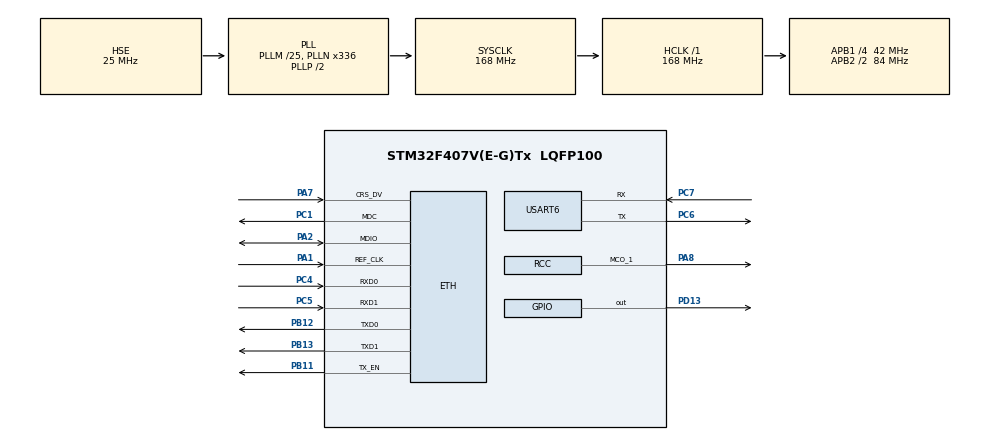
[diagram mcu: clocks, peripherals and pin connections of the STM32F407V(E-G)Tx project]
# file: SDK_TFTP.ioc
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ETH.MediaInterface=ETH_MEDIA_INTERFACE_RMII
LWIP.IP_ADDRESS=192.168.005.240
LWIP.LWIP_DHCP=0
LWIP.LWIP_IPV6=0
LWIP.LWIP_TFTP=1
LWIP.MEMP_NUM_UDP_PCB=6
LWIP.NETMASK_ADDRESS=255.255.255.000
LWIP.Version=v2.0.3_Cube
Mcu.Family=STM32F4
Mcu.Name=STM32F407V(E-G)Tx
Mcu.Package=LQFP100
NVIC.PriorityGroup=NVIC_PRIORITYGROUP_4
PA1.Mode=RMII
PA1.Signal=ETH_REF_CLK
PA13.Mode=JTAG_5_pins
PA13.Signal=SYS_JTMS-SWDIO
PA14.Mode=JTAG_5_pins
PA14.Signal=SYS_JTCK-SWCLK
PA15.Mode=JTAG_5_pins
PA15.Signal=SYS_JTDI
PA2.Mode=RMII
PA2.Signal=ETH_MDIO
PA7.Mode=RMII
PA7.Signal=ETH_CRS_DV
PA8.Mode=Clock-out-1
PA8.Signal=RCC_MCO_1
PB11.Mode=RMII
PB11.Signal=ETH_TX_EN
PB12.Mode=RMII
PB12.Signal=ETH_TXD0
PB13.Mode=RMII
PB13.Signal=ETH_TXD1
PB3.Mode=JTAG_5_pins
PB3.Signal=SYS_JTDO-SWO
PB4.Mode=JTAG_5_pins
PB4.Signal=SYS_JTRST
PC1.Mode=RMII
PC1.Signal=ETH_MDC
PC4.Mode=RMII
PC4.Signal=ETH_RXD0
PC5.Mode=RMII
PC5.Signal=ETH_RXD1
PC6.Mode=Asynchronous
PC6.Signal=USART6_TX
PC7.Mode=Asynchronous
PC7.Signal=USART6_RX
PD13.Signal=GPIO_Output
PH0-OSC_IN.Mode=HSE-External-Oscillator
PH0-OSC_IN.Signal=RCC_OSC_IN
PH1-OSC_OUT.Mode=HSE-External-Oscillator
PH1-OSC_OUT.Signal=RCC_OSC_OUT
ProjectManager.HeapSize=0x200
ProjectManager.StackSize=0x400
ProjectManager.TargetToolchain=SW4STM32
RCC.48MHZClocksFreq_Value=84000000
RCC.AHBFreq_Value=168000000
RCC.APB1CLKDivider=RCC_HCLK_DIV4
RCC.APB1Freq_Value=42000000
RCC.APB1TimFreq_Value=84000000
RCC.APB2CLKDivider=RCC_HCLK_DIV2
RCC.APB2Freq_Value=84000000
RCC.APB2TimFreq_Value=168000000
RCC.CortexFreq_Value=168000000
RCC.EnbaleCSS=true
RCC.HCLKFreq_Value=168000000
RCC.HSE_VALUE=25000000
RCC.HSI_VALUE=16000000
RCC.LSE_VALUE=32768
RCC.PLLM=25
RCC.PLLN=336
RCC.PLLSourceVirtual=RCC_PLLSOURCE_HSE
RCC.RCC_MCO1Source=RCC_MCO1SOURCE_HSE
RCC.SYSCLKFreq_VALUE=168000000
RCC.SYSCLKSource=RCC_SYSCLKSOURCE_PLLCLK
RCC.VCOOutputFreq_Value=336000000
USART6.VirtualMode=VM_ASYNC
VP_LWIP_VS_Enabled.Mode=Enabled
board=custom

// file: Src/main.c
/* USER CODE BEGIN Header */
/**
  ******************************************************************************
  * @file           : main.c
  * @brief          : Main program body
  ******************************************************************************
  * @attention
  *
  * <h2><center>&copy; Copyright (c) 2019 STMicroelectronics.
  * All rights reserved.</center></h2>
  *
  * This software component is licensed by ST under Ultimate Liberty license
  * SLA0044, the "License"; You may not use this file except in compliance with
  * the License. You may obtain a copy of the License at:
  *                             www.st.com/SLA0044
  *
  ******************************************************************************
  */
/* USER CODE END Header */

#include "main.h"
#include "lwip.h"
#include "usart.h"
#include "gpio.h"

/* USER CODE BEGIN Includes */
#include "tftpserver.h"
#include "flash_if.h"
#include <string.h>
/* USER CODE END Includes */

/* USER CODE BEGIN PTD */
typedef  void (*pFunction)(void);
/* USER CODE END PTD */

/* USER CODE BEGIN PV */
pFunction Jump_To_Application;
uint32_t JumpAddress;
/* USER CODE END PV */

void SystemClock_Config(void);
/* USER CODE BEGIN PFP */
static void RunApplication(void);
void LED_Blink(void);
/* USER CODE END PFP */

int main(void)
{

  /* MCU Configuration--------------------------------------------------------*/

  /* Reset of all peripherals, Initializes the Flash interface and the Systick. */
  HAL_Init();

  /* Configure the system clock */
  SystemClock_Config();

  /* Initialize all configured peripherals */
  MX_GPIO_Init();
  MX_LWIP_Init();
  MX_USART6_UART_Init();
  /* USER CODE BEGIN 2 */
  IAP_tftpd_init();
  HAL_UART_Transmit(&huart6, "TFTP Init\n", strlen("TFTP Init\n"), 100);
  LED_Blink();
  int tickstart = HAL_GetTick();
  const int bootDelay=5000U;
  /* USER CODE END 2 */

  /* Infinite loop */
  while (1)
  {

    /* USER CODE BEGIN 3 */
  MX_LWIP_Process();
	  if ( DOWNLOAD_WAIT == IAP_get_flag() ) {
		  if ( bootDelay < ( HAL_GetTick() - tickstart )) {
			  break;
		  }
	  } else if ( DOWNLOADING == IAP_get_flag() ) {

	  } else if ( DOWNLOAD_OVER == IAP_get_flag() ) {
		  break;
	  }
  }
  HAL_UART_Transmit(&huart6, "Run application\n", strlen("Run application\n"), 100);
  RunApplication();
  /* USER CODE END 3 */
}

void SystemClock_Config(void)
{
  RCC_OscInitTypeDef RCC_OscInitStruct = {0};
  RCC_ClkInitTypeDef RCC_ClkInitStruct = {0};

  /** Configure the main internal regulator output voltage
  */
  __HAL_RCC_PWR_CLK_ENABLE();
  __HAL_PWR_VOLTAGESCALING_CONFIG(PWR_REGULATOR_VOLTAGE_SCALE1);
  /** Initializes the CPU, AHB and APB busses clocks
  */
  RCC_OscInitStruct.OscillatorType = RCC_OSCILLATORTYPE_HSE;
  RCC_OscInitStruct.HSEState = RCC_HSE_ON;
  RCC_OscInitStruct.PLL.PLLState = RCC_PLL_ON;
  RCC_OscInitStruct.PLL.PLLSource = RCC_PLLSOURCE_HSE;
  RCC_OscInitStruct.PLL.PLLM = 25;
  RCC_OscInitStruct.PLL.PLLN = 336;
  RCC_OscInitStruct.PLL.PLLP = RCC_PLLP_DIV2;
  RCC_OscInitStruct.PLL.PLLQ = 4;
  if (HAL_RCC_OscConfig(&RCC_OscInitStruct) != HAL_OK)
  {
    Error_Handler();
  }
  /** Initializes the CPU, AHB and APB busses clocks
  */
  RCC_ClkInitStruct.ClockType = RCC_CLOCKTYPE_HCLK|RCC_CLOCKTYPE_SYSCLK
                              |RCC_CLOCKTYPE_PCLK1|RCC_CLOCKTYPE_PCLK2;
  RCC_ClkInitStruct.SYSCLKSource = RCC_SYSCLKSOURCE_PLLCLK;
  RCC_ClkInitStruct.AHBCLKDivider = RCC_SYSCLK_DIV1;
  RCC_ClkInitStruct.APB1CLKDivider = RCC_HCLK_DIV4;
  RCC_ClkInitStruct.APB2CLKDivider = RCC_HCLK_DIV2;

  if (HAL_RCC_ClockConfig(&RCC_ClkInitStruct, FLASH_LATENCY_5) != HAL_OK)
  {
    Error_Handler();
  }
  HAL_RCC_MCOConfig(RCC_MCO1, RCC_MCO1SOURCE_HSE, RCC_MCODIV_1);
  /** Enables the Clock Security System
  */
  HAL_RCC_EnableCSS();
}

/* USER CODE BEGIN 4 */
static void RunApplication(void)
{
      /* Jump to user application */
      JumpAddress = *(__IO uint32_t*) (USER_FLASH_FIRST_PAGE_ADDRESS+4);
      Jump_To_Application = (pFunction)JumpAddress;

      SCB->VTOR = USER_FLASH_FIRST_PAGE_ADDRESS;
      /* Initialize user application's Stack Pointer */
      __set_MSP(*(__IO uint32_t*) USER_FLASH_FIRST_PAGE_ADDRESS);
      HAL_DeInit();
      Jump_To_Application();
}

void LED_Blink( void ) {
	HAL_GPIO_TogglePin(GPIOD,GPIO_PIN_15);
	HAL_Delay(200);
	HAL_GPIO_TogglePin(GPIOD,GPIO_PIN_15);
	HAL_Delay(200);
	HAL_GPIO_TogglePin(GPIOD,GPIO_PIN_15);
}
/* USER CODE END 4 */

void Error_Handler(void)
{
  /* USER CODE BEGIN Error_Handler_Debug */
  /* User can add his own implementation to report the HAL error return state */
	HAL_UART_Transmit(&huart6, "Error\n", strlen("Error\n"), 500);

  /* USER CODE END Error_Handler_Debug */
}

/************************ (C) COPYRIGHT STMicroelectronics *****END OF FILE****/
